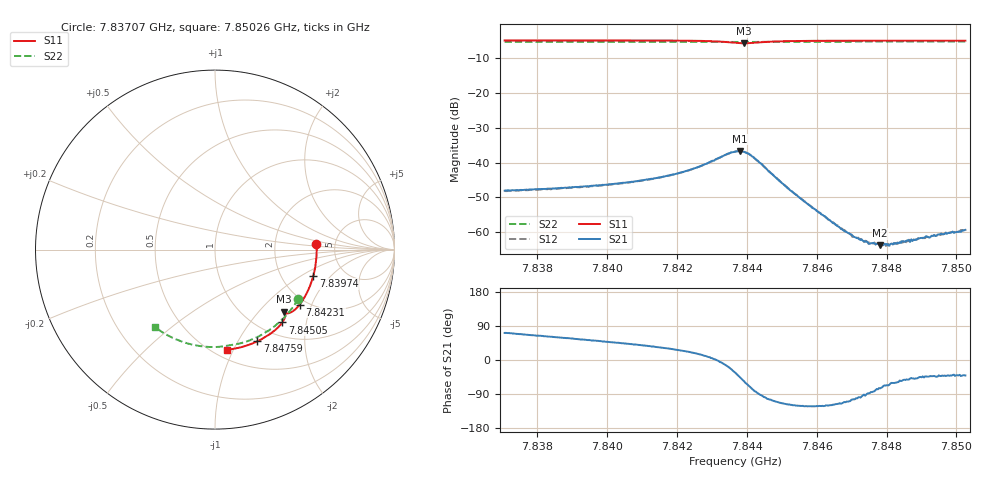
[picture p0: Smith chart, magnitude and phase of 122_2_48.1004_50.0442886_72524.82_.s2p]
#  HZ  S  RI  R  50.00
! Rohde & Schwarz Vector Network Analyzer
! Rohde-Schwarz,ZNB20-2Port,1311601062101988,3.16
! Created: UTC 12/23/2023, 3:46:51 AM
! freq[Hz]  re:S11  im:S11  re:S21  im:S21  re:S12  im:S12  re:S22  im:S22
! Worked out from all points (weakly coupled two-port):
!   401 points, 7.83707 GHz to 7.85026 GHz, reference 50 ohm
!   highest |S21| = -36.71 dB at 7.84379 GHz (marker M1); lowest = -63.8 dB at 7.84782 GHz (marker M2)
!   lowest |S11| = -5.7 dB at 7.84393 GHz (marker M3), VSWR 3.14, Z = 73.3 - j69.2 ohm
!   |S11| at or under -10 dB: nowhere
!   |S22| runs from -5.4 to -5.3 dB; largest |S21 - S12| = 0.00025
!   S11 on the Smith chart (normalised r, x): 7.83707 GHz: 3.58, +0.33; 7.83974 GHz: 3.01, -1.29; 7.84231 GHz: 1.83, -1.64; 7.84505 GHz: 1.25, -1.46; 7.84759 GHz: 0.81, -1.21; 7.85026 GHz: 0.58, -0.94
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7.837066e9  0.5654 0.0313  0.00125 0.00374  0.00126 0.00369  0.4647 -0.2741
7.839276e9  0.555 -0.1154  0.00265 0.00364  0.00261 0.00361  0.3687 -0.395
7.839738e9  0.548 -0.1456  0.00297 0.00362  0.00294 0.00359  0.3445 -0.4166
7.840694e9  0.5273 -0.207  0.00393 0.00353  0.00389 0.00354  0.2904 -0.4563
7.841486e9  0.5039 -0.2565  0.0051 0.00337  0.005 0.00338  0.2423 -0.4841
7.84231e9  0.4717 -0.3061  0.00713 0.00289  0.00708 0.00286  0.1891 -0.5072
7.842706e9  0.4517 -0.3287  0.00877 0.00212  0.00872 0.00216  0.1627 -0.5161
7.843168e9  0.422 -0.3502  0.0114 -0.000339  0.0114 -0.000352  0.1313 -0.5245
7.843662e9  0.3877 -0.3529  0.0121 -0.00785  0.0121 -0.00762  0.0981 -0.5301
7.843794e9  0.3834 -0.3492  0.0104 -0.0103  0.0103 -0.0101  0.0897 -0.5315
7.843926e9  0.3833 -0.3463  0.00789 -0.0119  0.00783 -0.0118  0.0815 -0.5329
7.844058e9  0.3863 -0.3463  0.00496 -0.0124  0.00504 -0.0123  0.0732 -0.5345
7.844256e9  0.3911 -0.3536  0.00129 -0.011  0.00125 -0.0111  0.0602 -0.537
7.845048e9  0.3753 -0.4057  -0.00207 -0.00442  -0.00205 -0.00445  0.00501 -0.5426
7.845872e9  0.3345 -0.4487  -0.00119 -0.0019  -0.0012 -0.00195  -0.0535 -0.5409
7.84673e9  0.2865 -0.4835  -0.000447 -0.000998  -0.000438 -0.00103  -0.113 -0.5322
7.846961e9  0.273 -0.4917  -0.000295 -0.000885  -0.000257 -0.000909  -0.1289 -0.529
7.84729e9  0.2535 -0.5023  -8.24e-05 -0.000782  -9.52e-05 -0.000771  -0.1512 -0.5233
7.847587e9  0.2353 -0.5113  6.39e-05 -0.000688  9.08e-05 -0.000698  -0.1713 -0.517
7.847818e9  0.2213 -0.5176  0.000169 -0.000621  0.000161 -0.000642  -0.1866 -0.5119
7.848082e9  0.2049 -0.5243  0.000272 -0.00059  0.000287 -0.00057  -0.204 -0.5053
7.850259e9  0.0644 -0.5587  0.000819 -0.000706  0.00083 -0.000716  -0.3362 -0.4305
